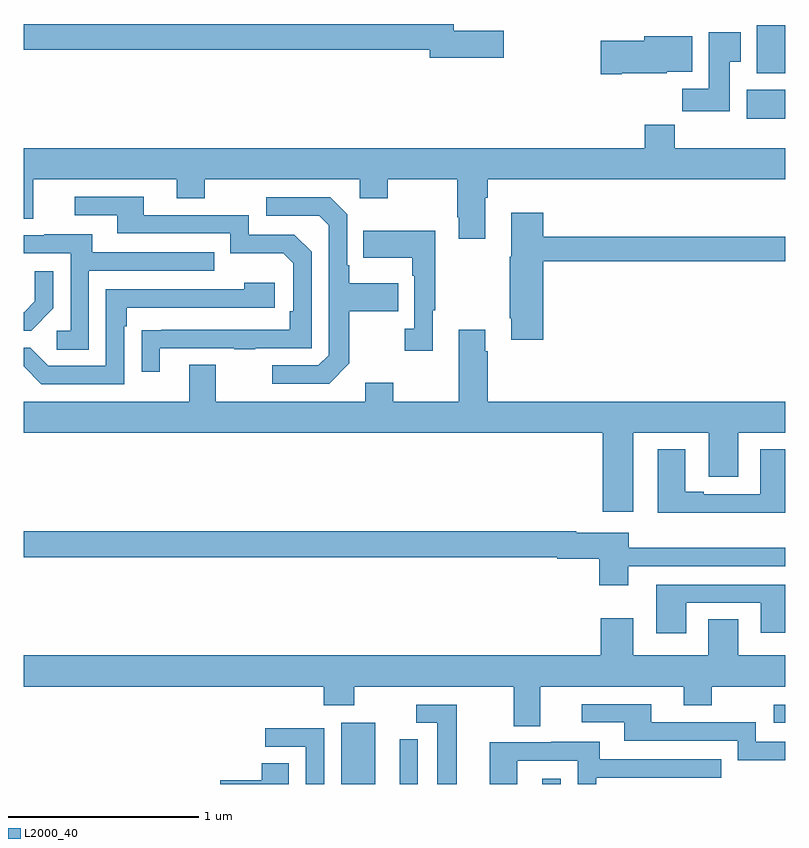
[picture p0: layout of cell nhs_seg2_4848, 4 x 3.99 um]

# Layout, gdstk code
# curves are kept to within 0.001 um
import gdstk
lib = gdstk.Library(unit=1e-6, precision=1e-09)
def R(c, l, rs):  # rectangles x0, y0, x1, y1
    for r in rs: c.add(gdstk.rectangle(r[:2], r[2:], *l))
def P(c, l, *ps):  # polygons
    for p in ps: c.add(gdstk.Polygon(p, *l))
L2000_40 = (2000, 40)

nhs_seg2_4848 = lib.new_cell('nhs_seg2_4848')
R(nhs_seg2_4848, L2000_40, [(376.667,637.8,376.846,638.122), (377.723,637.8,377.82,637.828), (378.939,638.121,379,638.217), (378.797,641.294,379,641.446), (378.851,641.534,379,641.785)])
P(nhs_seg2_4848, L2000_40, [(377.521,641.756),(377.26,641.756),(377.26,641.792),(375,641.792),(375,641.656),(377.132,641.656),(377.132,641.614),(377.521,641.614)],
  [(378.709,641.593),(378.766,641.593),(378.766,641.749),(378.599,641.749),(378.599,641.452),(378.46,641.452),(378.46,641.334),(378.709,641.334)],
  [(378.142,641.534),(378.378,641.534),(378.378,641.54),(378.511,641.54),(378.511,641.728),(378.26,641.728),(378.26,641.705),(378.03,641.705),(378.03,641.527),(378.142,641.527)],
  [(377.425,640.88),(377.438,640.88),(377.438,640.976),(379,640.976),(379,641.14),(378.419,641.14),(378.419,641.264),(378.263,641.264),(378.263,641.14),(375,641.14),(375,640.768),(375.049,640.768),(375.049,640.976),(375.803,640.976),(375.803,640.877),(375.951,640.877),(375.951,640.976),(376.764,640.976),(376.764,640.877),(376.911,640.877),(376.911,640.976),(377.278,640.976),(377.278,640.777),(377.285,640.777),(377.285,640.665),(377.425,640.665)],
  [(375.715,640.089),(376.105,640.089),(376.105,640.084),(376.217,640.084),(376.217,640.089),(376.512,640.089),(376.512,640.596),(376.422,640.686),(376.182,640.686),(376.182,640.788),(375.631,640.788),(375.631,640.884),(375.267,640.884),(375.267,640.788),(375.491,640.788),(375.491,640.692),(376.086,640.692),(376.086,640.589),(376.363,640.589),(376.416,640.536),(376.416,640.282),(376.396,640.282),(376.396,640.185),(375.619,640.184),(375.619,639.966),(375.715,639.966)],
  [(376.711,640.009),(376.711,640.282),(376.967,640.282),(376.967,640.429),(376.711,640.429),(376.711,640.525),(376.698,640.525),(376.698,640.794),(376.611,640.881),(376.275,640.881),(376.275,640.785),(376.551,640.785),(376.602,640.734),(376.602,640.053),(376.548,639.999),(376.305,639.999),(376.305,639.903),(376.605,639.903)],
  [(377.729,640.546),(379,640.546),(379,640.675),(377.729,640.675),(377.729,640.801),(377.561,640.801),(377.561,640.569),(377.554,640.569),(377.554,640.246),(377.561,640.246),(377.561,640.134),(377.729,640.134)],
  [(377.149,640.289),(377.161,640.289),(377.161,640.705),(376.783,640.705),(376.783,640.565),(377.04,640.565),(377.04,640.469),(377.052,640.469),(377.052,640.19),(377.001,640.19),(377.001,640.077),(377.149,640.077)],
  [(375.342,640.497),(376.001,640.497),(376.001,640.593),(375.361,640.593),(375.361,640.687),(375.107,640.687),(375.107,640.683),(375,640.683),(375,640.587),(375.246,640.587),(375.246,640.182),(375.174,640.182),(375.174,640.081),(375.342,640.081)],
  [(375.156,640.298),(375.156,640.492),(375.059,640.492),(375.059,640.335),(375.002,640.278),(375,640.278),(375,640.182),(375.04,640.182)],
  [(375.528,640.205),(375.541,640.205),(375.541,640.302),(376.318,640.302),(376.318,640.432),(376.157,640.432),(376.157,640.398),(375.432,640.398),(375.432,639.996),(375.129,639.996),(375.033,640.092),(375,640.092),(375,639.993),(375.093,639.9),(375.528,639.9)],
  [(378.202,639.644),(378.599,639.644),(378.599,639.414),(378.754,639.414),(378.754,639.644),(379,639.644),(379,639.808),(377.438,639.808),(377.438,640.073),(377.425,640.073),(377.425,640.186),(377.285,640.186),(377.285,639.808),(376.941,639.808),(376.941,639.907),(376.793,639.907),(376.793,639.808),(376.009,639.808),(376.009,640.003),(375.869,640.003),(375.869,639.808),(375,639.808),(375,639.644),(378.041,639.644),(378.041,639.231),(378.202,639.231)],
  [(379,639.559),(378.869,639.559),(378.869,639.321),(378.571,639.321),(378.571,639.334),(378.475,639.334),(378.475,639.559),(378.329,639.559),(378.329,639.224),(379,639.224)],
  [(378.175,638.943),(379,638.943),(379,639.041),(378.178,639.041),(378.178,639.121),(377.902,639.121),(377.902,639.128),(375,639.128),(375,638.992),(377.802,638.992),(377.802,638.984),(378.023,638.984),(378.023,638.844),(378.175,638.844)],
  [(378.481,638.751),(378.872,638.751),(378.872,638.595),(379,638.595),(379,638.847),(378.323,638.847),(378.323,638.592),(378.481,638.592)],
  [(377.713,638.312),(378.467,638.312),(378.467,638.213),(378.615,638.213),(378.615,638.312),(379,638.312),(379,638.476),(378.754,638.476),(378.754,638.666),(378.596,638.666),(378.596,638.476),(378.202,638.476),(378.202,638.671),(378.032,638.671),(378.032,638.476),(375,638.476),(375,638.312),(376.577,638.312),(376.577,638.213),(376.737,638.213),(376.737,638.312),(377.573,638.312),(377.573,638.104),(377.713,638.104)],
  [(379,638.022),(378.846,638.022),(378.846,638.124),(378.295,638.124),(378.295,638.22),(377.931,638.22),(377.931,638.124),(378.155,638.124),(378.155,638.028),(378.75,638.028),(378.75,637.925),(379,637.925)],
  [(377.275,638.217),(377.061,638.217),(377.061,638.121),(377.171,638.121),(377.171,637.8),(377.275,637.8)],
  [(376.578,638.094),(376.269,638.094),(376.269,637.995),(376.482,637.995),(376.482,637.8),(376.578,637.8)],
  [(377.07,638.036),(376.974,638.036),(376.974,637.882),(376.976,637.882),(376.976,637.8),(377.07,637.8)],
  [(377.592,637.923),(377.91,637.923),(377.91,637.8),(378.006,637.8),(378.006,637.833),(378.665,637.833),(378.665,637.929),(378.025,637.929),(378.025,638.023),(377.771,638.023),(377.771,638.019),(377.447,638.019),(377.447,637.8),(377.592,637.8)],
  [(376.393,637.91),(376.25,637.91),(376.25,637.82),(376.032,637.82),(376.032,637.8),(376.393,637.8)])

lib.write_gds('nhs_seg2_4848.gds')
